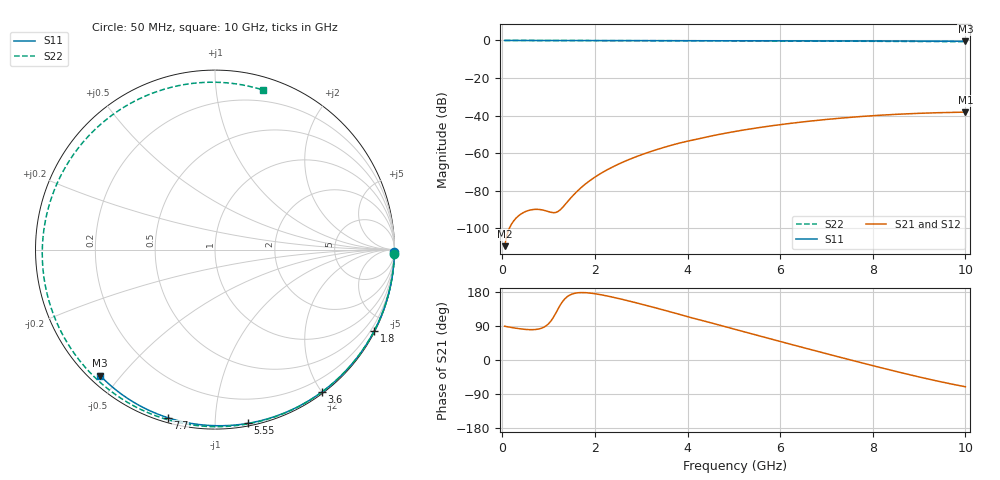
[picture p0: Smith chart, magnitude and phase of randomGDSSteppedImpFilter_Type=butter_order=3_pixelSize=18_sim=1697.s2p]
! freq	dB(S11)	phase(S11)	dB(S12)	phase(S12)
!  dB(S21)	phase(S21)	dB(S22)	phase(S22)
!S-par simulation data
#  GHz  S  DB  R 50
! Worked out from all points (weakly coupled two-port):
!   200 points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, 50 MHz to 10 GHz, reference 50 ohm
!   highest |S21| = -38.18 dB at 10 GHz (marker M1); lowest = -109.6 dB at 50 MHz (marker M2)
!   lowest |S11| = -0.4 dB at 10 GHz (marker M3), VSWR 38.88, Z = 1.54 - j22.1 ohm
!   |S11| at or under -10 dB: nowhere
!   |S22| runs from -0.6 to 0.0 dB; largest |S21 - S12| = 0
!   S11 on the Smith chart (normalised r, x): 50 MHz: open; 1.8 GHz: 0.04, -4.14; 3.6 GHz: 0.02, -2.00; 5.55 GHz: 0.02, -1.21; 7.7 GHz: 0.02, -0.76; 10 GHz: 0.03, -0.44
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0.05  -0.00 -0.8  -109.59 89.1  -109.59 89.1  -0.00 -1.5
0.8  -0.01 -12.2  -90.03 82.2  -90.03 82.2  -0.03 -23.2
1.6  -0.03 -24.2  -80.74 176.9  -80.74 176.9  -0.06 -46.0
1.75  -0.03 -26.4  -77.38 177.9  -77.38 177.9  -0.06 -50.1
1.8  -0.03 -27.2  -76.37 177.6  -76.37 177.6  -0.07 -51.5
2.1  -0.04 -31.6  -71.24 172.9  -71.24 172.9  -0.08 -59.8
2.45  -0.05 -36.7  -66.57 164.0  -66.57 164.0  -0.09 -69.3
2.9  -0.06 -43.2  -61.84 150.7  -61.84 150.7  -0.10 -81.3
3.4  -0.07 -50.3  -57.64 134.7  -57.64 134.7  -0.12 -94.3
3.6  -0.07 -53.1  -56.18 128.1  -56.18 128.1  -0.13 -99.5
4.3  -0.09 -62.7  -52.02 104.8  -52.02 104.8  -0.16 -117.3
5.05  -0.11 -72.7  -48.38 80.2  -48.38 80.2  -0.21 -136.2
5.55  -0.13 -79.3  -46.39 63.6  -46.39 63.6  -0.24 -148.8
6.15  -0.15 -86.9  -44.38 44.0  -44.38 44.0  -0.28 -164.3
6.7  -0.18 -93.7  -42.82 26.2  -42.82 26.2  -0.33 -179.0
7.2  -0.21 -99.8  -41.62 10.2  -41.62 10.2  -0.38 167.0
7.7  -0.24 -105.8  -40.60 -5.6  -40.60 -5.6  -0.43 152.4
8.35  -0.29 -113.4  -39.56 -25.6  -39.56 -25.6  -0.49 132.0
8.8  -0.33 -118.6  -39.01 -39.0  -39.01 -39.0  -0.54 116.9
9.2  -0.36 -123.2  -38.64 -50.3  -38.64 -50.3  -0.58 102.8
9.6  -0.40 -127.8  -38.37 -60.9  -38.37 -60.9  -0.61 88.2
10  -0.45 -132.3  -38.18 -70.6  -38.18 -70.6  -0.65 73.1
